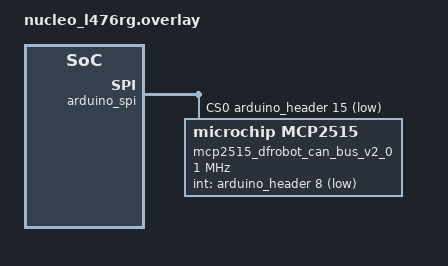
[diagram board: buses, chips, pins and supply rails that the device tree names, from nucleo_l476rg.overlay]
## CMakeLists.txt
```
# SPDX-License-Identifier: Apache-2.0

cmake_minimum_required(VERSION 3.20.0)

find_package(Zephyr REQUIRED HINTS $ENV{ZEPHYR_BASE})
project(datalogger)

FILE(GLOB app_sources src/*.c)
target_sources(app PRIVATE ${app_sources})
```

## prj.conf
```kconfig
CONFIG_MAIN_STACK_SIZE=2048
CONFIG_SYSTEM_WORKQUEUE_STACK_SIZE=1024

# CAN support
CONFIG_CAN=y
#CONFIG_CAN_ABILITY=y

# Filesystem & FATFS
#CONFIG_FILE_SYSTEM=y
#CONFIG_DISK_ACCESS=y
#CONFIG_FAT_FILESYSTEM_ELM=y

# SPI & SD
CONFIG_SPI=y
#CONFIG_SDHC=y
#CONFIG_SD=y
```

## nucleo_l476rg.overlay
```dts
/*
 * Copyright (c) 2019 Karsten Koenig
 *
 * SPDX-License-Identifier: Apache-2.0
 */

 &arduino_spi {
	status = "okay";
	cs-gpios = <&arduino_header 15 GPIO_ACTIVE_LOW>; /* D9 */

	mcp2515_dfrobot_can_bus_v2_0: can@0 {
		compatible = "microchip,mcp2515";
		spi-max-frequency = <1000000>;
		int-gpios = <&arduino_header 8 GPIO_ACTIVE_LOW>; /* D2 */
		status = "okay";
		reg = <0x0>;
		osc-freq = <16000000>;

		can-transceiver {
			min-bitrate = <60000>;
			max-bitrate = <1000000>;
		};
	};
};

/ {
	chosen {
		zephyr,canbus = &mcp2515_dfrobot_can_bus_v2_0;
	};
};
```

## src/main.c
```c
#include <zephyr/device.h>
#include <zephyr/drivers/can.h>
#include <zephyr/logging/log.h>
//#include <zephyr/drivers/spi.h>
//#include <zephyr/fs/fs.h>
//#include <zephyr/fs/fat_fs.h>
#include "database.h"
//#include <sys/printk.h>

LOG_MODULE_REGISTER(main, LOG_LEVEL_DBG);

#define CAN_THREAD_STACK 1024
#define LOG_THREAD_STACK 1024
#define LOG_PERIOD_MS 1000

CAN_MSGQ_DEFINE(can_rx_queue, 10);
const struct device *const can_dev = DEVICE_DT_GET(DT_CHOSEN(zephyr_canbus));

//static struct fs_file_t file;
//static struct fs_mount_t mp = {0};

/* Example transforms: extract two signals from one CAN ID */
void transform_speed(const struct can_frame *f, atomic_t *out) {
    // assume byte0 = speed
    atomic_set(out, f->data[0]);
}

void transform_rpm(const struct can_frame *f, atomic_t *out) {
    // assume bytes1-2 = rpm
    uint16_t rpm = (f->data[1] << 8) | f->data[2];
    atomic_set(out, rpm);
}

void can_thread(void) {
	int ret;

    if (!device_is_ready(can_dev)) 
    {
		LOG_ERR("CAN: Device %s not ready.\n", can_dev->name);
		return -1;
	}
	ret = can_start(can_dev);
	if (ret != 0) 
	{
		LOG_ERR("Error starting CAN controller [%d]", ret);
		return -1;
	}

	struct can_filter filter = {0, 0, 0}; // Filters nothing
	can_add_rx_filter_msgq(can_dev, &can_rx_queue, &filter);

    struct can_frame frame;
    while (1) {
        k_msgq_get(&can_rx_queue, &frame, K_FOREVER);
		LOG_DBG("Can received: %u\n",
			sys_be16_to_cpu(UNALIGNED_GET((uint16_t *)&frame.data)));
        db_process_frame(&frame);
    }
}

/*
void write_csv_line(uint32_t id, int64_t value) {
    char buf[32];
    int len = snprintf(buf, sizeof(buf), "%03X,%lld,", id, value);
    fs_write(&file, buf, len);
}

void log_thread(void) {
    fs_mount(&mp);
    fs_open(&file, "/SDCARD/log.csv", FS_O_CREATE | FS_O_WRITE);
    fs_seek(&file, 0, FS_SEEK_END);

    while (1) {
        fs_write(&file, "\n", 1);
        db_iterate(write_csv_line);
        fs_sync(&file);
        k_msleep(LOG_PERIOD_MS);
    }
}
	*/

K_THREAD_DEFINE(can_tid, CAN_THREAD_STACK, can_thread, NULL, NULL, NULL, 7, 0, 0);
//K_THREAD_DEFINE(log_tid, LOG_THREAD_STACK, log_thread, NULL, NULL, NULL, 5, 0, 0);

void main(void) {
    db_init();
    // register two signals on ID 0x100
    db_register(0x100, transform_speed);
    db_register(0x100, transform_rpm);
}
```

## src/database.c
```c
#include "database.h"
#include <zephyr/sys/atomic.h>
#include <zephyr/logging/log.h>

LOG_MODULE_REGISTER(db, LOG_LEVEL_INF);

#define MAX_ENTRIES 32

struct db_entry {
    uint32_t id;
    atomic_t val;
    transform_fn_t fn;
    bool used;
};
static struct db_entry entries[MAX_ENTRIES];
static struct k_mutex db_mutex;

void db_init(void) {
    k_mutex_init(&db_mutex);
}

// Register a new signal extractor for a CAN ID
atomic_t *db_register(uint32_t id, transform_fn_t fn) {
    k_mutex_lock(&db_mutex, K_FOREVER);
    for (int i = 0; i < MAX_ENTRIES; i++) {
        if (!entries[i].used) {
            entries[i].used = true;
            entries[i].id = id;
            entries[i].fn = fn;
            atomic_set(&entries[i].val, 0);
            k_mutex_unlock(&db_mutex);
            return &entries[i].val;
        }
    }
    k_mutex_unlock(&db_mutex);
    return NULL; // no space
}

// Apply all transforms matching this frame's ID
void db_process_frame(const struct can_frame *frame) {
    k_mutex_lock(&db_mutex, K_FOREVER);
    for (int i = 0; i < MAX_ENTRIES; i++) {
        if (entries[i].used && entries[i].id == frame->id) {
            entries[i].fn(frame, &entries[i].val);
        }
    }
    k_mutex_unlock(&db_mutex);
}

// Walk through all registered signals
void db_iterate(void (*cb)(uint32_t id, int64_t value)) {
    k_mutex_lock(&db_mutex, K_FOREVER);
    for (int i = 0; i < MAX_ENTRIES; i++) {
        if (entries[i].used) {
            int64_t v = atomic_get(&entries[i].val);
            cb(entries[i].id, v);
        }
    }
    k_mutex_unlock(&db_mutex);
}
```

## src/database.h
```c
#ifndef DATABASE_H
#define DATABASE_H

#include <zephyr/sys/atomic.h>
#include <zephyr/types.h>
#include <zephyr/drivers/can.h>

#ifdef __cplusplus
extern "C" {
#endif

typedef void (*transform_fn_t)(const struct can_frame *frame, atomic_t *out_val);

/**
 * Register a transform on a given CAN ID. You may call multiple times for the same ID
 * to extract multiple signals from one frame.
 * @param id CAN message ID
 * @param fn transformation function
 * @return pointer to atomic variable storing this signal's value
 */
atomic_t *db_register(uint32_t id, transform_fn_t fn);

/**
 * Process one received CAN frame: applies all transforms registered for its ID.
 */
void db_process_frame(const struct can_frame *frame);

/**
 * Iterate all stored signals and invoke cb(id, value) for each registration.
 */
void db_iterate(void (*cb)(uint32_t id, int64_t value));

#ifdef __cplusplus
}
#endif
#endif /* DATABASE_H */
```
